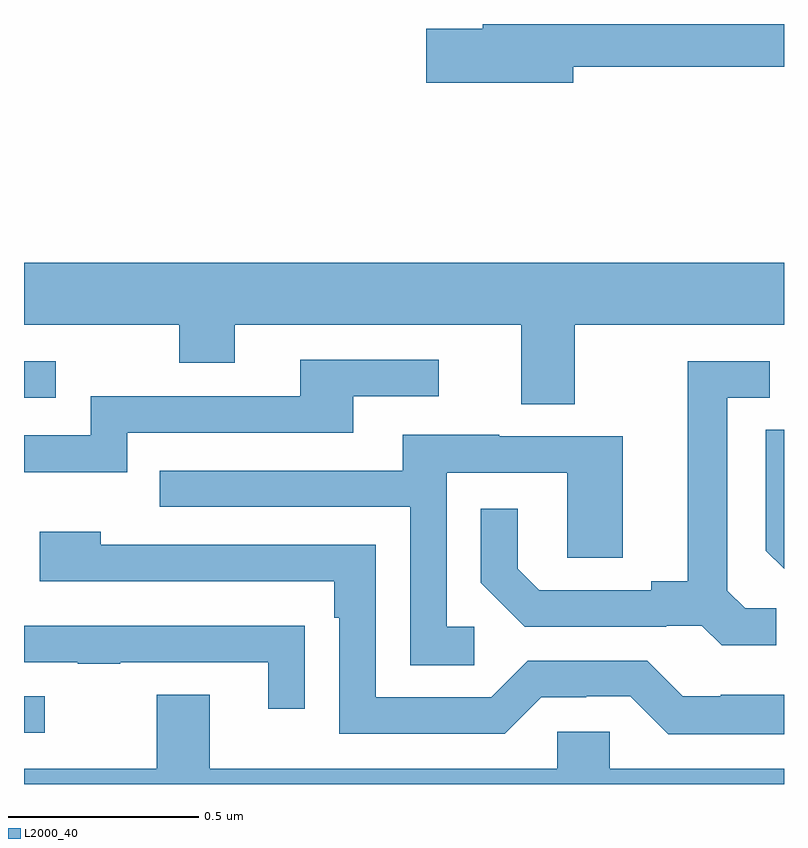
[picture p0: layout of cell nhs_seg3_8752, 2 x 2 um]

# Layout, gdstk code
import gdstk
lib = gdstk.Library(unit=1e-6, precision=1e-09)
def R(c, l, rs):  # rectangles x0, y0, x1, y1
    for r in rs: c.add(gdstk.rectangle(r[:2], r[2:], *l))
def P(c, l, *ps):  # polygons
    for p in ps: c.add(gdstk.Polygon(p, *l))
L2000_40 = (2000, 40)

nhs_seg3_8752 = lib.new_cell('nhs_seg3_8752')
R(nhs_seg3_8752, L2000_40, [(220,674.535,220.054,674.631), (220,675.417,220.084,675.513)])
P(nhs_seg3_8752, L2000_40, [(221.446,676.288),(222,676.288),(222,676.4),(221.207,676.4),(221.207,676.388),(221.058,676.388),(221.058,676.246),(221.446,676.246)],
  [(221.449,675.608),(222,675.608),(222,675.772),(220,675.772),(220,675.608),(220.408,675.608),(220.408,675.509),(220.555,675.509),(220.555,675.608),(221.309,675.608),(221.309,675.4),(221.449,675.4)],
  [(220.272,675.324),(220.867,675.324),(220.867,675.42),(221.092,675.42),(221.092,675.516),(220.727,675.516),(220.727,675.42),(220.176,675.42),(220.176,675.318),(220,675.318),(220,675.221),(220.272,675.221)],
  [(221.98,674.862),(221.898,674.862),(221.851,674.909),(221.851,675.417),(221.962,675.417),(221.962,675.513),(221.747,675.513),(221.747,674.933),(221.651,674.933),(221.651,674.91),(221.356,674.91),(221.299,674.967),(221.299,675.124),(221.202,675.124),(221.202,674.93),(221.318,674.814),(221.69,674.814),(221.69,674.817),(221.784,674.817),(221.836,674.765),(221.98,674.765)],
  [(222,675.332),(221.952,675.332),(221.952,675.014),(222,674.966)],
  [(221.185,674.814),(221.112,674.814),(221.112,675.219),(221.43,675.219),(221.43,674.995),(221.575,674.995),(221.575,675.315),(221.251,675.315),(221.251,675.319),(220.997,675.319),(220.997,675.225),(220.357,675.225),(220.357,675.129),(221.016,675.129),(221.016,674.713),(221.185,674.713)],
  [(222,674.635),(221.833,674.635),(221.833,674.631),(221.733,674.631),(221.64,674.724),(221.325,674.724),(221.229,674.628),(220.926,674.628),(220.926,675.03),(220.202,675.03),(220.202,675.064),(220.041,675.064),(220.041,674.934),(220.817,674.934),(220.817,674.837),(220.83,674.837),(220.83,674.532),(221.265,674.532),(221.361,674.628),(221.48,674.628),(221.48,674.631),(221.595,674.631),(221.695,674.531),(222,674.531)],
  [(220.739,674.816),(220.637,674.816),(220.637,674.817),(220,674.817),(220,674.721),(220.141,674.721),(220.141,674.716),(220.253,674.716),(220.253,674.721),(220.643,674.721),(220.643,674.598),(220.739,674.598)],
  [(222,674.44),(221.541,674.44),(221.541,674.538),(221.403,674.538),(221.403,674.44),(220.489,674.44),(220.489,674.635),(220.349,674.635),(220.349,674.44),(220,674.44),(220,674.4),(222,674.4)])

lib.write_gds('nhs_seg3_8752.gds')
